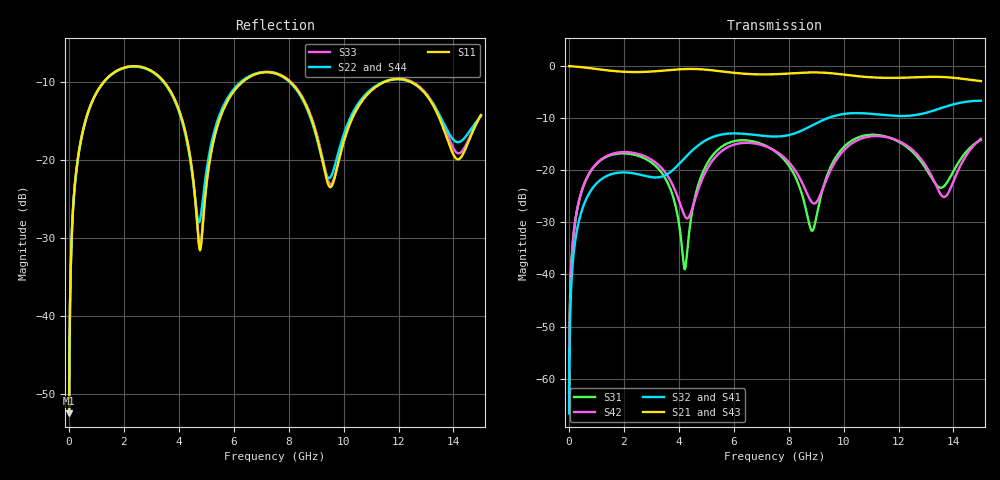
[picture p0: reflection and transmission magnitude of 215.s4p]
! Created with skrf 1.8.0 (http://scikit-rf.org).
# GHz S RI R 50.0
!freq ReS11 ImS11 ReS12 ImS12 ReS13 ImS13
! ReS14 ImS14
! ReS21 ImS21 ReS22 ImS22 ReS23 ImS23
! ReS24 ImS24
! ReS31 ImS31 ReS32 ImS32 ReS33 ImS33
! ReS34 ImS34
! ReS41 ImS41 ReS42 ImS42 ReS43 ImS43
! ReS44 ImS44
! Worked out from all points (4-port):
!   2499 points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, 5 MHz to 15 GHz, reference 50 ohm
!   strongest paths, dB at 5 MHz, 3.476 GHz, 7.19 GHz, 11.1 GHz, 15 GHz:
!     S21: 0.0, -0.9, -1.6, -2.2, -2.9
!     S43: 0.0, -0.9, -1.6, -2.2, -2.9
!     S32: -66.7, -21.0, -13.4, -9.2, -6.7
!     S41: -66.7, -21.1, -13.5, -9.2, -6.6
!     S42: -62.8, -20.2, -15.5, -13.4, -14.0
!     S31: -62.8, -21.3, -15.4, -13.2, -14.2
!   lowest |S11| = -52.5 dB at 5 MHz (marker M1), VSWR 1.00, Z = 50.2 + j0.145 ohm
!   |S11| at or under -10 dB: 3.456 GHz to 6.327 GHz (2.871 GHz wide, 58.7 % of centre); 8.05 GHz to 11.51 GHz (3.456 GHz wide, 35.3 % of centre); 12.44 GHz to end of sweep (the widest 3 of 4)
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0.005  0.00189 0.00144  0.9981 -0.00368  9.45e-05 0.000717  -9.2e-05 -0.000455
       0.9981 -0.00368  0.00189 0.00144  -9.2e-05 -0.000455  9.47e-05 0.000717
       9.45e-05 0.000717  -9.2e-05 -0.000455  0.00189 0.00144  0.9981 -0.00368
       -9.2e-05 -0.000455  9.47e-05 0.000717  0.9981 -0.00368  0.00189 0.00144
0.3626511  0.0385 0.106  0.9468 -0.261  0.0174 0.0474  -0.0148 -0.0291
           0.9468 -0.261  0.0384 0.1061  -0.0148 -0.0291  0.0183 0.0471
           0.0174 0.0474  -0.0148 -0.0291  0.0385 0.106  0.9468 -0.261
           -0.0148 -0.0291  0.0183 0.0471  0.9468 -0.261  0.0384 0.1061
1.725719  0.347 0.1285  0.3579 -0.8172  0.139 0.0361  -0.0912 0.0236
          0.3579 -0.8172  0.3442 0.1316  -0.0912 0.0237  0.1455 0.021
          0.139 0.0361  -0.0912 0.0237  0.347 0.1286  0.3578 -0.8172
          -0.0912 0.0236  0.1455 0.021  0.3578 -0.8172  0.3443 0.1316
4.770738  0.0262 -0.00227  -0.932 -0.0413  0.0279 0.0763  -0.00331 0.1786
          -0.932 -0.0413  0.0404 0.00693  -0.00246 0.1785  -0.0163 0.0708
          0.0279 0.0763  -0.00246 0.1785  0.0269 -0.00187  -0.932 -0.0409
          -0.00331 0.1786  -0.0163 0.0708  -0.932 -0.0409  0.0396 0.0074
7.096707  0.3629 0.0149  -0.1243 0.822  0.1639 -0.0618  0.2101 -0.0368
          -0.1243 0.822  0.3643 0.0086  0.2103 -0.0382  0.1604 -0.0623
          0.1639 -0.0618  0.2103 -0.0382  0.3649 0.0148  -0.1238 0.8212
          0.2101 -0.0368  0.1604 -0.0623  -0.1238 0.8212  0.3667 0.00887
12.01751  0.3287 -0.0125  0.1259 -0.7611  0.1588 -0.0994  -0.3311 0.0126
          0.1259 -0.7611  0.3276 -0.0127  -0.3316 0.0166  0.1585 -0.1052
          0.1588 -0.0994  -0.3316 0.0166  0.3305 -0.0129  0.1247 -0.7604
          -0.3311 0.0126  0.1585 -0.1052  0.1247 -0.7604  0.3303 -0.0134
15  0.1704 0.0915  -0.7008 0.1564  0.1 0.1678  0.1456 0.4426
    -0.7008 0.1564  0.1829 0.0522  0.1518 0.4393  0.1468 0.1363
    0.1 0.1678  0.1518 0.4393  0.1752 0.0794  -0.702 0.1565
    0.1456 0.4426  0.1468 0.1363  -0.702 0.1565  0.1746 0.0475
